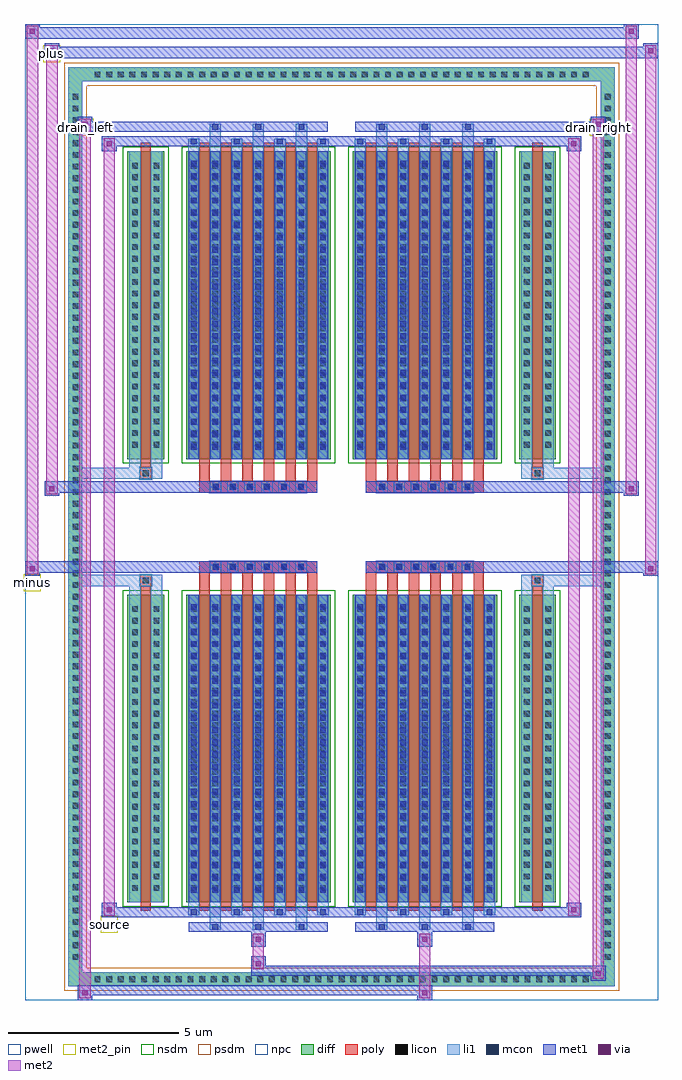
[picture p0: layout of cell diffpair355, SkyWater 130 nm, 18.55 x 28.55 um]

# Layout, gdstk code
import gdstk
lib = gdstk.Library(unit=1e-6, precision=5e-09)
def R(c, l, rs):  # rectangles x0, y0, x1, y1
    for r in rs: c.add(gdstk.rectangle(r[:2], r[2:], *l))
def A(c, l, x, y, w, h, nx, ny, dx, dy):  # array of equal rectangles
    R(c, l, [(x+i*dx, y+j*dy, x+i*dx+w, y+j*dy+h) for i in range(nx) for j in range(ny)])
def P(c, l, *ps):  # polygons
    for p in ps: c.add(gdstk.Polygon(p, *l))
pwell = (64, 44)
diff = (65, 20)
poly = (66, 20)
licon = (66, 44)
li1 = (67, 20)
mcon = (67, 44)
met1 = (68, 20)
via = (68, 44)
met2_pin = (69, 16)
met2 = (69, 20)
nsdm = (93, 44)
psdm = (94, 20)
npc = (95, 20)

diffpair355 = lib.new_cell('diffpair355')
R(diffpair355, pwell, [(-9.26,-13.84,9.26,14.71), (-6.58,-12.03,-0.01,-0.805), (0.01,-12.03,6.58,-0.805), (-6.58,0.805,-0.01,12.03), (0.01,0.805,6.58,12.03)])
A(diffpair355, diff, -7.345, -13.44, 0.41, 0.41, 43, 2, 0.34, 26.47)
A(diffpair355, diff, -7.99, -12.785, 0.41, 0.41, 1, 75, 0, 0.34)
A(diffpair355, diff, 7.58, -12.785, 0.41, 0.41, 1, 75, 0, 0.34)
R(diffpair355, diff, [(-7.345,-13.44,7.345,-13.03), (-7.99,-12.785,-7.58,12.785), (7.58,-12.785,7.99,12.785), (-6.27,-10.985,-5.19,-1.985), (-4.55,-10.985,-0.32,-1.985), (0.32,-10.985,4.55,-1.985), (5.19,-10.985,6.27,-1.985), (-6.27,1.985,-5.19,10.985), (-4.55,1.985,-0.32,10.985), (0.32,1.985,4.55,10.985), (5.19,1.985,6.27,10.985), (-7.345,13.03,7.345,13.44)])
P(diffpair355, diff, [(7.99,13.44),(-7.99,13.44),(-7.99,-13.03),(-7.58,-13.03),(-7.58,13.03),(7.58,13.03),(7.58,-13.03),(-7.58,-13.03),(-7.99,-13.03),(-7.99,-13.44),(7.99,-13.44)])
A(diffpair355, poly, -4.16, -11.235, 0.3, 9.5, 6, 2, 0.63, 12.97)
A(diffpair355, poly, 0.71, -11.235, 0.3, 9.5, 6, 2, 0.63, 12.97)
A(diffpair355, poly, -4.16, -1.735, 0.3, 0.4, 6, 2, 0.63, 3.07)
A(diffpair355, poly, 0.71, -1.735, 0.3, 0.4, 6, 2, 0.63, 3.07)
A(diffpair355, poly, -3.85, -1.335, 0.33, 0.33, 6, 2, 0.5, 2.34)
A(diffpair355, poly, 1.02, -1.335, 0.33, 0.33, 6, 2, 0.5, 2.34)
R(diffpair355, poly, [(-5.88,-11.235,-5.58,-1.735), (5.58,-11.235,5.88,-1.735), (-5.895,-1.735,-5.565,-1.405), (-5.895,-1.735,-5.565,-1.405), (5.565,-1.735,5.895,-1.405), (5.565,-1.735,5.895,-1.405), (-4.16,-1.335,-0.71,-1.005), (0.71,-1.335,4.16,-1.005), (-4.16,1.005,-0.71,1.335), (0.71,1.005,4.16,1.335), (-5.895,1.405,-5.565,1.735), (-5.895,1.405,-5.565,1.735), (5.565,1.405,5.895,1.735), (5.565,1.405,5.895,1.735), (-5.88,1.735,-5.58,11.235), (5.58,1.735,5.88,11.235)])
A(diffpair355, licon, -7.225, -13.32, 0.17, 0.17, 43, 2, 0.34, 26.47)
A(diffpair355, licon, -7.87, -12.665, 0.17, 0.17, 1, 75, 0, 0.34)
A(diffpair355, licon, 7.7, -12.665, 0.17, 0.17, 1, 75, 0, 0.34)
A(diffpair355, licon, -6.13, -10.65, 0.17, 0.17, 1, 25, 0, 0.34)
A(diffpair355, licon, -5.5, -10.65, 0.17, 0.17, 1, 25, 0, 0.34)
A(diffpair355, licon, -4.41, -10.65, 0.17, 0.17, 7, 25, 0.63, 0.34)
A(diffpair355, licon, 0.46, -10.65, 0.17, 0.17, 7, 25, 0.63, 0.34)
A(diffpair355, licon, 5.33, -10.65, 0.17, 0.17, 1, 25, 0, 0.34)
A(diffpair355, licon, 5.96, -10.65, 0.17, 0.17, 1, 25, 0, 0.34)
A(diffpair355, licon, -3.77, -1.255, 0.17, 0.17, 6, 2, 0.5, 2.34)
A(diffpair355, licon, 1.1, -1.255, 0.17, 0.17, 6, 2, 0.5, 2.34)
A(diffpair355, licon, -6.13, 2.32, 0.17, 0.17, 1, 25, 0, 0.34)
A(diffpair355, licon, -5.5, 2.32, 0.17, 0.17, 1, 25, 0, 0.34)
A(diffpair355, licon, -4.41, 2.32, 0.17, 0.17, 7, 25, 0.63, 0.34)
A(diffpair355, licon, 0.46, 2.32, 0.17, 0.17, 7, 25, 0.63, 0.34)
A(diffpair355, licon, 5.33, 2.32, 0.17, 0.17, 1, 25, 0, 0.34)
A(diffpair355, licon, 5.96, 2.32, 0.17, 0.17, 1, 25, 0, 0.34)
R(diffpair355, licon, [(-5.815,-1.655,-5.645,-1.485), (5.645,-1.655,5.815,-1.485), (-5.815,1.485,-5.645,1.655), (5.645,1.485,5.815,1.655)])
A(diffpair355, li1, -7.305, -13.4, 0.33, 0.33, 43, 2, 0.34, 26.47)
A(diffpair355, li1, -7.95, -12.745, 0.33, 0.33, 1, 75, 0, 0.34)
A(diffpair355, li1, 7.62, -12.745, 0.33, 0.33, 1, 75, 0, 0.34)
A(diffpair355, li1, -3.86, -11.79, 0.33, 0.805, 3, 2, 1.26, 22.775)
A(diffpair355, li1, -3.78, -11.79, 0.17, 0.17, 3, 2, 1.26, 23.41)
A(diffpair355, li1, 1.01, -11.79, 0.33, 0.805, 3, 2, 1.26, 22.775)
A(diffpair355, li1, 1.09, -11.79, 0.17, 0.17, 3, 2, 1.26, 23.41)
A(diffpair355, li1, -4.49, -11.36, 0.33, 0.375, 4, 2, 1.26, 22.345)
A(diffpair355, li1, -4.41, -11.36, 0.17, 0.17, 4, 2, 1.26, 22.55)
A(diffpair355, li1, 0.38, -11.36, 0.33, 0.375, 4, 2, 1.26, 22.345)
A(diffpair355, li1, 0.46, -11.36, 0.17, 0.17, 4, 2, 1.26, 22.55)
A(diffpair355, li1, -4.49, -10.985, 0.33, 9, 7, 2, 0.63, 12.97)
A(diffpair355, li1, 0.38, -10.985, 0.33, 9, 7, 2, 0.63, 12.97)
A(diffpair355, li1, -6.21, -10.73, 0.33, 0.33, 1, 25, 0, 0.34)
A(diffpair355, li1, -5.58, -10.73, 0.33, 0.33, 1, 25, 0, 0.34)
A(diffpair355, li1, -4.49, -10.73, 0.33, 0.33, 7, 25, 0.63, 0.34)
A(diffpair355, li1, 0.38, -10.73, 0.33, 0.33, 7, 25, 0.63, 0.34)
A(diffpair355, li1, 5.25, -10.73, 0.33, 0.33, 1, 25, 0, 0.34)
A(diffpair355, li1, 5.88, -10.73, 0.33, 0.33, 1, 25, 0, 0.34)
A(diffpair355, li1, -4.41, -10.71, 0.17, 0.17, 7, 24, 0.63, 0.36)
A(diffpair355, li1, -4.41, -10.71, 0.17, 8.45, 7, 2, 0.63, 12.97)
A(diffpair355, li1, 0.46, -10.71, 0.17, 0.17, 7, 24, 0.63, 0.36)
A(diffpair355, li1, 0.46, -10.71, 0.17, 8.45, 7, 2, 0.63, 12.97)
A(diffpair355, li1, -3.85, -1.335, 0.33, 0.33, 6, 2, 0.5, 2.34)
A(diffpair355, li1, 1.02, -1.335, 0.33, 0.33, 6, 2, 0.5, 2.34)
A(diffpair355, li1, -6.21, 2.24, 0.33, 0.33, 1, 25, 0, 0.34)
A(diffpair355, li1, -5.58, 2.24, 0.33, 0.33, 1, 25, 0, 0.34)
A(diffpair355, li1, -4.49, 2.24, 0.33, 0.33, 7, 25, 0.63, 0.34)
A(diffpair355, li1, 0.38, 2.24, 0.33, 0.33, 7, 25, 0.63, 0.34)
A(diffpair355, li1, 5.25, 2.24, 0.33, 0.33, 1, 25, 0, 0.34)
A(diffpair355, li1, 5.88, 2.24, 0.33, 0.33, 1, 25, 0, 0.34)
A(diffpair355, li1, -4.41, 2.26, 0.17, 0.17, 7, 24, 0.63, 0.36)
A(diffpair355, li1, 0.46, 2.26, 0.17, 0.17, 7, 24, 0.63, 0.36)
R(diffpair355, li1, [(-7.99,-13.44,-7.58,-13.03), (-7.99,-13.44,-7.58,-13.03), (-7.58,-13.44,7.58,-13.03), (7.58,-13.44,7.99,-13.03), (7.58,-13.44,7.99,-13.03), (-7.99,-13.03,-7.58,13.03), (7.58,-13.03,7.99,13.03), (-6.21,-10.985,-5.88,-1.985), (-5.58,-10.985,-5.25,-1.985), (5.25,-10.985,5.58,-1.985), (5.88,-10.985,6.21,-1.985), (-6.21,-1.985,-5.88,-1.405), (-5.58,-1.985,-5.25,-1.405), (5.25,-1.985,5.58,-1.405), (5.88,-1.985,6.21,-1.405), (-7.99,-1.735,-5.895,-1.405), (-6.21,-1.735,-5.895,-1.405), (-5.895,-1.735,-5.565,-1.405), (-5.565,-1.735,-5.25,-1.405), (5.25,-1.735,5.565,-1.405), (5.565,-1.735,5.895,-1.405), (5.565,-1.735,7.99,-1.405), (5.895,-1.735,6.21,-1.405), (-7.99,1.405,-5.895,1.735), (-6.21,1.405,-5.895,1.735), (-6.21,1.405,-5.88,1.985), (-5.895,1.405,-5.565,1.735), (-5.58,1.405,-5.25,1.985), (-5.565,1.405,-5.25,1.735), (5.25,1.405,5.565,1.735), (5.25,1.405,5.58,1.985), (5.565,1.405,5.895,1.735), (5.565,1.405,7.99,1.735), (5.88,1.405,6.21,1.985), (5.895,1.405,6.21,1.735), (-6.21,1.985,-5.88,10.985), (-5.58,1.985,-5.25,10.985), (5.25,1.985,5.58,10.985), (5.88,1.985,6.21,10.985), (-7.99,13.03,-7.58,13.44), (-7.99,13.03,-7.58,13.44), (-7.58,13.03,7.58,13.44), (7.58,13.03,7.99,13.44), (7.58,13.03,7.99,13.44)])
A(diffpair355, mcon, -3.78, -11.79, 0.17, 0.17, 3, 2, 1.26, 23.41)
A(diffpair355, mcon, 1.09, -11.79, 0.17, 0.17, 3, 2, 1.26, 23.41)
A(diffpair355, mcon, -4.41, -11.36, 0.17, 0.17, 4, 2, 1.26, 22.55)
A(diffpair355, mcon, 0.46, -11.36, 0.17, 0.17, 4, 2, 1.26, 22.55)
A(diffpair355, mcon, -4.41, -10.71, 0.17, 0.17, 7, 24, 0.63, 0.36)
A(diffpair355, mcon, 0.46, -10.71, 0.17, 0.17, 7, 24, 0.63, 0.36)
A(diffpair355, mcon, -3.77, -1.255, 0.17, 0.17, 6, 2, 0.5, 2.34)
A(diffpair355, mcon, 1.1, -1.255, 0.17, 0.17, 6, 2, 0.5, 2.34)
A(diffpair355, mcon, -4.41, 2.26, 0.17, 0.17, 7, 24, 0.63, 0.36)
A(diffpair355, mcon, 0.46, 2.26, 0.17, 0.17, 7, 24, 0.63, 0.36)
A(diffpair355, met1, -3.84, -11.85, 0.29, 0.29, 3, 2, 1.26, 23.41)
A(diffpair355, met1, 1.03, -11.85, 0.29, 0.29, 3, 2, 1.26, 23.41)
A(diffpair355, met1, -4.47, -11.42, 0.29, 0.29, 4, 2, 1.26, 22.55)
A(diffpair355, met1, 0.4, -11.42, 0.29, 0.29, 4, 2, 1.26, 22.55)
A(diffpair355, met1, -4.47, -10.985, 0.29, 9, 7, 2, 0.63, 12.97)
A(diffpair355, met1, 0.4, -10.985, 0.29, 9, 7, 2, 0.63, 12.97)
A(diffpair355, met1, -4.47, -10.77, 0.29, 0.29, 7, 24, 0.63, 0.36)
A(diffpair355, met1, 0.4, -10.77, 0.29, 0.29, 7, 24, 0.63, 0.36)
A(diffpair355, met1, -3.83, -1.315, 0.29, 0.29, 6, 2, 0.5, 2.34)
A(diffpair355, met1, 1.04, -1.315, 0.29, 0.29, 6, 2, 0.5, 2.34)
A(diffpair355, met1, -4.47, 2.2, 0.29, 0.29, 7, 24, 0.63, 0.36)
A(diffpair355, met1, 0.4, 2.2, 0.29, 0.29, 7, 24, 0.63, 0.36)
R(diffpair355, met1, [(-7.72,-13.84,-7.29,-13.41), (2.22,-13.84,2.65,-13.41), (-7.72,-13.7,2.65,-13.41), (7.29,-13.27,7.72,-12.84), (-2.65,-13.13,7.72,-12.84), (-2.65,-12.99,-2.22,-12.56), (-2.65,-12.28,-2.22,-11.85), (2.22,-12.28,2.65,-11.85), (-4.47,-11.85,-0.4,-11.56), (0.4,-11.85,4.47,-11.56), (-7.01,-11.42,-6.58,-10.99), (-7.01,-11.42,-4.47,-11.13), (-4.47,-11.42,-0.4,-11.13), (-0.4,-11.42,0.4,-11.13), (0.4,-11.42,4.47,-11.13), (4.47,-11.42,7.01,-11.13), (6.58,-11.42,7.01,-10.99), (-9.26,-1.435,-8.83,-1.005), (8.83,-1.435,9.26,-1.005), (-9.26,-1.335,-0.71,-1.005), (-4.16,-1.335,-0.71,-1.005), (0.71,-1.335,4.16,-1.005), (0.71,-1.335,9.26,-1.005), (-8.69,0.905,-8.26,1.335), (8.26,0.905,8.69,1.335), (-8.69,1.005,-4.16,1.335), (-4.16,1.005,-0.71,1.335), (0.71,1.005,4.16,1.335), (4.16,1.005,8.69,1.335), (-7.01,10.99,-6.58,11.42), (6.58,10.99,7.01,11.42), (-7.01,11.13,-4.47,11.42), (-4.47,11.13,-0.4,11.42), (-0.4,11.13,0.4,11.42), (0.4,11.13,4.47,11.42), (4.47,11.13,7.01,11.42), (-7.72,11.56,-7.29,11.99), (-7.72,11.56,-4.47,11.85), (-4.47,11.56,-0.4,11.85), (0.4,11.56,4.47,11.85), (4.47,11.56,7.72,11.85), (7.29,11.56,7.72,11.99), (-8.69,13.71,-8.26,14.14), (-8.69,13.71,-6.58,14.04), (-6.58,13.71,6.58,14.04), (6.58,13.71,9.26,14.04), (8.83,13.71,9.26,14.14), (-9.26,14.28,-8.83,14.71), (-9.26,14.28,-6.58,14.61), (-6.58,14.28,6.58,14.61), (6.58,14.28,8.69,14.61), (8.26,14.28,8.69,14.71)])
R(diffpair355, via, [(-7.58,-13.7,-7.43,-13.55), (2.36,-13.7,2.51,-13.55), (7.43,-13.13,7.58,-12.98), (-2.51,-12.85,-2.36,-12.7), (-2.51,-12.14,-2.36,-11.99), (2.36,-12.14,2.51,-11.99), (-6.87,-11.28,-6.72,-11.13), (6.72,-11.28,6.87,-11.13), (-9.12,-1.295,-8.97,-1.145), (8.97,-1.295,9.12,-1.145), (-8.55,1.045,-8.4,1.195), (8.4,1.045,8.55,1.195), (-6.87,11.13,-6.72,11.28), (6.72,11.13,6.87,11.28), (-7.58,11.7,-7.43,11.85), (7.43,11.7,7.58,11.85), (-8.55,13.85,-8.4,14), (8.97,13.85,9.12,14), (-9.12,14.42,-8.97,14.57), (8.4,14.42,8.55,14.57)])
R(diffpair355, met2_pin, [(-7.045,-11.87,-6.545,-11.37), (-9.295,-1.885,-8.795,-1.385), (-7.755,11.44,-7.255,11.94), (7.255,11.44,7.755,11.94), (-8.725,13.59,-8.225,14.09)])
R(diffpair355, met2, [(-7.67,-13.79,-7.34,-13.46), (-7.67,-13.79,-7.34,11.94), (2.27,-13.79,2.6,-13.46), (2.27,-13.46,2.6,-12.23), (7.34,-13.22,7.67,-12.89), (7.34,-13.22,7.67,11.94), (-2.6,-12.94,-2.27,-12.61), (-2.6,-12.61,-2.27,-12.23), (-2.6,-12.23,-2.27,-11.9), (2.27,-12.23,2.6,-11.9), (-6.96,-11.37,-6.63,-11.04), (-6.96,-11.37,-6.63,11.37), (6.63,-11.37,6.96,-11.04), (6.63,-11.37,6.96,11.37), (-9.21,-1.385,-8.88,-1.055), (-9.21,-1.385,-8.88,14.66), (8.88,-1.385,9.21,-1.055), (8.88,-1.385,9.21,14.09), (-8.64,0.955,-8.31,1.285), (-8.64,0.955,-8.31,14.09), (8.31,0.955,8.64,1.285), (8.31,0.955,8.64,14.66), (-6.96,11.04,-6.63,11.37), (6.63,11.04,6.96,11.37), (-7.67,11.61,-7.34,11.94), (7.34,11.61,7.67,11.94), (-8.64,13.76,-8.31,14.09), (8.88,13.76,9.21,14.09), (-9.21,14.33,-8.88,14.66), (8.31,14.33,8.64,14.66)])
P(diffpair355, met2, [(9.21,-1.385),(9.21,-1.385),(9.21,-1.055),(9.21,-1.055)],
  [(9.21,13.76),(9.21,13.76),(9.21,14.09),(9.21,14.09)],
  [(-8.88,-1.385),(-8.88,-1.385),(-8.88,-1.055),(-8.88,-1.055)],
  [(-8.88,14.33),(-8.88,14.33),(-8.88,14.66),(-8.88,14.66)],
  [(8.64,0.955),(8.64,0.955),(8.64,1.285),(8.64,1.285)],
  [(8.64,14.33),(8.64,14.33),(8.64,14.66),(8.64,14.66)],
  [(-8.31,0.955),(-8.31,0.955),(-8.31,1.285),(-8.31,1.285)],
  [(-8.31,13.76),(-8.31,13.76),(-8.31,14.09),(-8.31,14.09)],
  [(-7.34,-13.79),(-7.34,-13.79),(-7.34,-13.46),(-7.34,-13.46)],
  [(-7.34,11.61),(-7.34,11.61),(-7.34,11.94),(-7.34,11.94)],
  [(7.67,-13.22),(7.67,-13.22),(7.67,-12.89),(7.67,-12.89)],
  [(7.67,11.61),(7.67,11.61),(7.67,11.94),(7.67,11.94)],
  [(-6.63,-11.37),(-6.63,-11.37),(-6.63,-11.04),(-6.63,-11.04)],
  [(-6.63,11.04),(-6.63,11.04),(-6.63,11.37),(-6.63,11.37)],
  [(6.96,-11.37),(6.96,-11.37),(6.96,-11.04),(6.96,-11.04)],
  [(6.96,11.04),(6.96,11.04),(6.96,11.37),(6.96,11.37)])
R(diffpair355, nsdm, [(-6.4,-11.115,-5.06,-1.855), (-4.68,-11.115,-0.19,-1.855), (0.19,-11.115,4.68,-1.855), (5.06,-11.115,6.4,-1.855), (-6.4,1.855,-5.06,11.115), (-4.68,1.855,-0.19,11.115), (0.19,1.855,4.68,11.115), (5.06,1.855,6.4,11.115)])
P(diffpair355, psdm, [(8.12,13.57),(-8.12,13.57),(-8.12,-12.9),(-7.45,-12.9),(-7.45,12.9),(7.45,12.9),(7.45,-12.9),(-7.45,-12.9),(-8.12,-12.9),(-8.12,-13.57),(8.12,-13.57)])
A(diffpair355, npc, -3.87, -1.355, 0.37, 0.37, 6, 2, 0.5, 2.34)
A(diffpair355, npc, 1, -1.355, 0.37, 0.37, 6, 2, 0.5, 2.34)
R(diffpair355, npc, [(-5.915,-1.755,-5.545,-1.385), (5.545,-1.755,5.915,-1.385), (-3.87,-1.355,-3,-0.985), (-3.87,-1.355,-3,-0.985), (-3.37,-1.355,-2.5,-0.985), (-3.37,-1.355,-2.5,-0.985), (-2.87,-1.355,-2,-0.985), (-2.87,-1.355,-2,-0.985), (-2.37,-1.355,-1.5,-0.985), (-2.37,-1.355,-1.5,-0.985), (-1.87,-1.355,-1,-0.985), (-1.87,-1.355,-1,-0.985), (1,-1.355,1.87,-0.985), (1,-1.355,1.87,-0.985), (1.5,-1.355,2.37,-0.985), (1.5,-1.355,2.37,-0.985), (2,-1.355,2.87,-0.985), (2,-1.355,2.87,-0.985), (2.5,-1.355,3.37,-0.985), (2.5,-1.355,3.37,-0.985), (3,-1.355,3.87,-0.985), (3,-1.355,3.87,-0.985), (-3.87,0.985,-3,1.355), (-3.87,0.985,-3,1.355), (-3.37,0.985,-2.5,1.355), (-3.37,0.985,-2.5,1.355), (-2.87,0.985,-2,1.355), (-2.87,0.985,-2,1.355), (-2.37,0.985,-1.5,1.355), (-2.37,0.985,-1.5,1.355), (-1.87,0.985,-1,1.355), (-1.87,0.985,-1,1.355), (1,0.985,1.87,1.355), (1,0.985,1.87,1.355), (1.5,0.985,2.37,1.355), (1.5,0.985,2.37,1.355), (2,0.985,2.87,1.355), (2,0.985,2.87,1.355), (2.5,0.985,3.37,1.355), (2.5,0.985,3.37,1.355), (3,0.985,3.87,1.355), (3,0.985,3.87,1.355), (-5.915,1.385,-5.545,1.755), (5.545,1.385,5.915,1.755)])
diffpair355.add(gdstk.Label('minus', (-9.045,-1.635), layer=69, texttype=5))
diffpair355.add(gdstk.Label('drain_right', (7.505,11.69), layer=69, texttype=5))
diffpair355.add(gdstk.Label('drain_left', (-7.505,11.69), layer=69, texttype=5))
diffpair355.add(gdstk.Label('source', (-6.795,-11.62), layer=69, texttype=5))
diffpair355.add(gdstk.Label('plus', (-8.475,13.84), layer=69, texttype=5))

lib.write_gds('diffpair355.gds')
